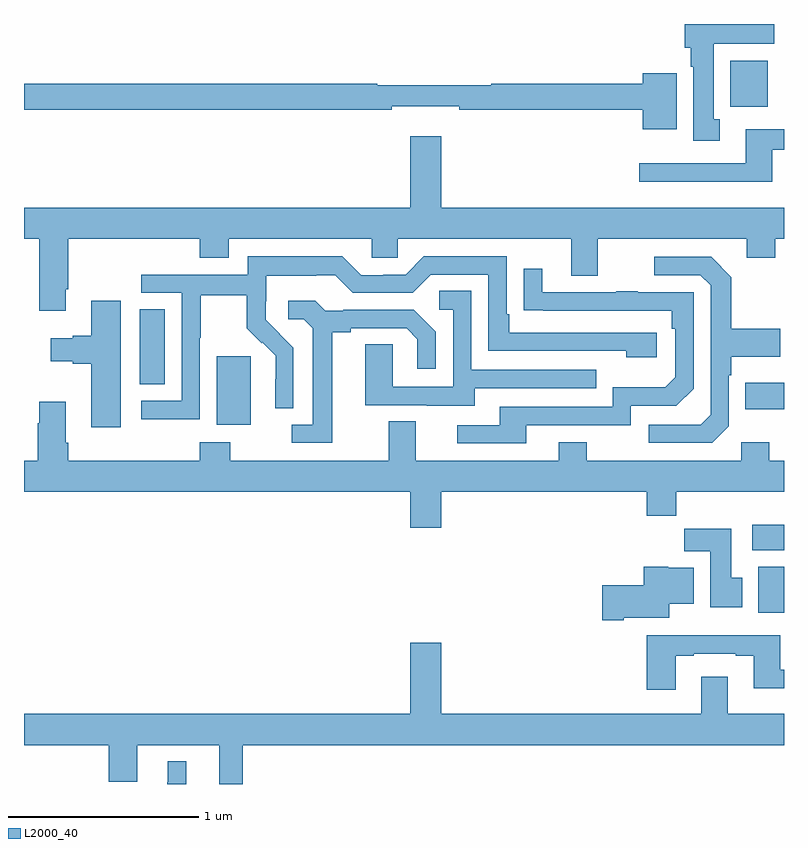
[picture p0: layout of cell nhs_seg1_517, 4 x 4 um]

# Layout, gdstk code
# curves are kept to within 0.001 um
import gdstk
lib = gdstk.Library(unit=1e-6, precision=1e-09)
def R(c, l, rs):  # rectangles x0, y0, x1, y1
    for r in rs: c.add(gdstk.rectangle(r[:2], r[2:], *l))
def P(c, l, *ps):  # polygons
    for p in ps: c.add(gdstk.Polygon(p, *l))
L2000_40 = (2000, 40)

nhs_seg1_517 = lib.new_cell('nhs_seg1_517')
R(nhs_seg1_517, L2000_40, [(142.865,547.1,143,547.342), (142.833,547.43,143,547.564), (140.015,548.09,140.194,548.451), (142.795,548.171,143,548.311), (139.61,548.302,139.741,548.699), (142.718,549.764,142.915,550.006)])
P(nhs_seg1_517, L2000_40, [(142.663,549.698),(142.63,549.698),(142.63,550.094),(142.948,550.094),(142.948,550.199),(142.478,550.199),(142.478,550.074),(142.508,550.074),(142.508,549.974),(142.523,549.974),(142.523,549.585),(142.663,549.585)],
  [(142.435,549.94),(142.256,549.94),(142.256,549.884),(141.46,549.884),(141.46,549.877),(140.86,549.877),(140.86,549.884),(139,549.884),(139,549.748),(140.936,549.748),(140.936,549.767),(141.292,549.767),(141.292,549.748),(142.256,549.748),(142.256,549.644),(142.435,549.644)],
  [(142.939,549.537),(143,549.537),(143,549.646),(142.799,549.646),(142.799,549.465),(142.239,549.465),(142.239,549.368),(142.939,549.368)],
  [(139.219,548.803),(139.232,548.803),(139.232,549.068),(139.925,549.068),(139.925,548.969),(140.077,548.969),(140.077,549.068),(140.829,549.068),(140.829,548.97),(140.967,548.97),(140.967,549.068),(141.881,549.068),(141.881,548.874),(142.021,548.874),(142.021,549.068),(142.805,549.068),(142.805,548.969),(142.953,548.969),(142.953,549.068),(143,549.068),(143,549.232),(141.196,549.232),(141.196,549.607),(141.032,549.607),(141.032,549.232),(139,549.232),(139,549.068),(139.079,549.068),(139.079,548.691),(139.219,548.691)],
  [(139.926,548.548),(139.929,548.548),(139.929,548.772),(140.173,548.772),(140.173,548.597),(140.25,548.52),(140.253,548.523),(140.324,548.453),(140.324,548.33),(140.322,548.33),(140.322,548.176),(140.418,548.176),(140.418,548.494),(140.272,548.642),(140.272,548.739),(140.274,548.739),(140.274,548.873),(140.537,548.873),(140.537,548.877),(140.637,548.877),(140.73,548.784),(141.045,548.784),(141.141,548.88),(141.444,548.88),(141.444,548.478),(142.169,548.478),(142.169,548.444),(142.33,548.444),(142.33,548.574),(141.553,548.574),(141.553,548.671),(141.54,548.671),(141.54,548.976),(141.105,548.976),(141.009,548.88),(140.891,548.88),(140.891,548.877),(140.775,548.877),(140.675,548.977),(140.178,548.977),(140.178,548.88),(139.617,548.88),(139.617,548.784),(139.83,548.784),(139.83,548.217),(139.617,548.217),(139.617,548.119),(139.926,548.119)],
  [(142.71,548.082),(142.71,548.351),(142.723,548.351),(142.723,548.447),(142.979,548.447),(142.979,548.595),(142.723,548.595),(142.723,548.867),(142.617,548.973),(142.317,548.973),(142.317,548.877),(142.56,548.877),(142.614,548.823),(142.614,548.142),(142.563,548.091),(142.287,548.091),(142.287,547.995),(142.623,547.995)],
  [(141.643,548.088),(142.194,548.088),(142.194,548.19),(142.434,548.19),(142.524,548.28),(142.524,548.787),(142.229,548.787),(142.229,548.792),(142.117,548.792),(142.117,548.787),(141.727,548.787),(141.727,548.911),(141.631,548.911),(141.631,548.692),(142.408,548.691),(142.408,548.594),(142.428,548.594),(142.428,548.34),(142.375,548.287),(142.098,548.287),(142.098,548.184),(141.503,548.184),(141.503,548.088),(141.279,548.088),(141.279,547.992),(141.643,547.992)],
  [(141.373,548.283),(142.013,548.283),(142.013,548.379),(141.354,548.379),(141.354,548.795),(141.186,548.795),(141.186,548.694),(141.258,548.694),(141.258,548.289),(140.94,548.289),(140.94,548.513),(140.795,548.513),(140.795,548.193),(141.119,548.193),(141.119,548.189),(141.373,548.189)],
  [(139.51,548.743),(139.355,548.743),(139.355,548.558),(139.256,548.558),(139.256,548.545),(139.14,548.545),(139.14,548.423),(139.256,548.423),(139.256,548.411),(139.355,548.411),(139.355,548.076),(139.51,548.076)],
  [(140.623,548.576),(140.719,548.576),(140.719,548.598),(141.014,548.598),(141.071,548.541),(141.071,548.385),(141.168,548.385),(141.168,548.578),(141.052,548.694),(140.68,548.694),(140.68,548.691),(140.586,548.691),(140.534,548.743),(140.391,548.743),(140.391,548.646),(140.472,548.646),(140.519,548.599),(140.519,548.091),(140.409,548.091),(140.409,547.995),(140.623,547.995)],
  [(141.196,547.736),(142.277,547.736),(142.277,547.612),(142.433,547.612),(142.433,547.736),(143,547.736),(143,547.9),(142.923,547.9),(142.923,547.999),(142.776,547.999),(142.776,547.9),(141.963,547.9),(141.963,547.999),(141.815,547.999),(141.815,547.9),(141.061,547.9),(141.061,548.108),(140.921,548.108),(140.921,547.9),(140.085,547.9),(140.085,547.999),(139.925,547.999),(139.925,547.9),(139.232,547.9),(139.232,547.996),(139.219,547.996),(139.219,548.212),(139.079,548.212),(139.079,548.099),(139.072,548.099),(139.072,547.9),(139,547.9),(139,547.736),(141.032,547.736),(141.032,547.548),(141.196,547.548)],
  [(142.78,547.284),(142.723,547.284),(142.723,547.543),(142.474,547.543),(142.474,547.424),(142.613,547.424),(142.613,547.128),(142.78,547.128)],
  [(142.156,547.073),(142.396,547.073),(142.396,547.148),(142.525,547.148),(142.525,547.336),(142.392,547.336),(142.392,547.342),(142.262,547.342),(142.262,547.244),(142.044,547.244),(142.044,547.061),(142.156,547.061)],
  [(142.429,546.873),(142.525,546.873),(142.525,546.885),(142.745,546.885),(142.745,546.873),(142.841,546.873),(142.841,546.704),(143,546.704),(143,546.801),(142.981,546.801),(142.981,546.982),(142.277,546.982),(142.277,546.696),(142.429,546.696)],
  [(140.15,546.404),(143,546.404),(143,546.568),(142.705,546.568),(142.705,546.763),(142.565,546.763),(142.565,546.568),(141.196,546.568),(141.196,546.943),(141.032,546.943),(141.032,546.568),(139,546.568),(139,546.404),(139.445,546.404),(139.445,546.212),(139.597,546.212),(139.597,546.404),(140.027,546.404),(140.027,546.199),(140.15,546.199)],
  [(139.855,546.319),(139.757,546.319),(139.757,546.209),(139.753,546.209),(139.753,546.199),(139.855,546.199)])

lib.write_gds('nhs_seg1_517.gds')
